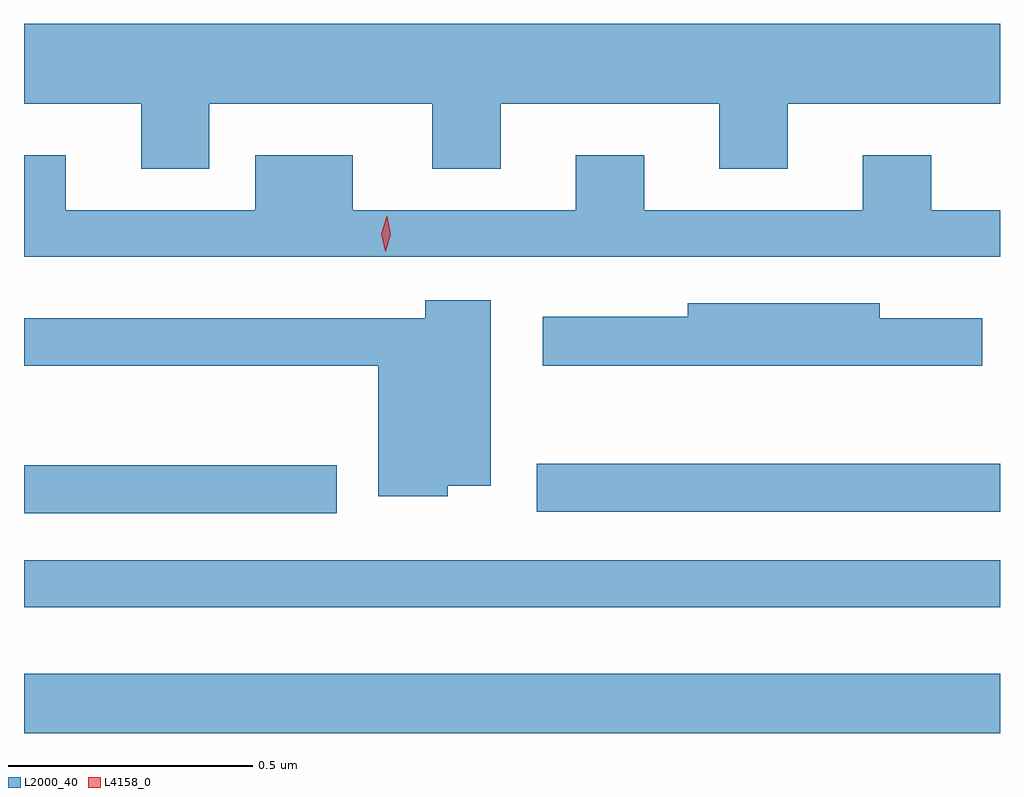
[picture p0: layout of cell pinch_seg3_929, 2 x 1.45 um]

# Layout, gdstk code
import gdstk
lib = gdstk.Library(unit=1e-6, precision=1e-09)
def R(c, l, rs):  # rectangles x0, y0, x1, y1
    for r in rs: c.add(gdstk.rectangle(r[:2], r[2:], *l))
def P(c, l, *ps):  # polygons
    for p in ps: c.add(gdstk.Polygon(p, *l))
L2000_40 = (2000, 40)
L4158_0 = (4158, 0)

pinch_seg3_929 = lib.new_cell('pinch_seg3_929')
R(pinch_seg3_929, L2000_40, [(795.56,668.99,797.56,669.112), (795.56,669.248,797.56,669.345), (795.56,669.441,796.201,669.539), (796.611,669.444,797.56,669.542)])
P(pinch_seg3_929, L2000_40, [(795.94,670.28),(796.397,670.28),(796.397,670.147),(796.537,670.147),(796.537,670.28),(796.985,670.28),(796.985,670.147),(797.125,670.147),(797.125,670.28),(797.56,670.28),(797.56,670.444),(795.56,670.444),(795.56,670.28),(795.8,670.28),(795.8,670.147),(795.94,670.147)],
  [(797.56,670.062),(797.419,670.062),(797.419,670.174),(797.279,670.174),(797.279,670.062),(796.831,670.062),(796.831,670.174),(796.691,670.174),(796.691,670.062),(796.234,670.062),(796.234,670.174),(796.034,670.174),(796.034,670.062),(795.646,670.062),(795.646,670.174),(795.56,670.174),(795.56,669.966),(797.56,669.966)],
  [(796.428,669.497),(796.516,669.497),(796.516,669.877),(796.382,669.877),(796.382,669.84),(795.56,669.84),(795.56,669.743),(796.286,669.743),(796.286,669.476),(796.428,669.476)],
  [(797.524,669.84),(797.314,669.84),(797.314,669.871),(796.92,669.871),(796.92,669.844),(796.623,669.844),(796.623,669.743),(797.524,669.743)])
P(pinch_seg3_929, L4158_0, [(796.3,669.978),(796.3,669.978),(796.292,670.014),(796.303,670.049),(796.303,670.049),(796.304,670.049),(796.312,670.013),(796.301,669.978)])

lib.write_gds('pinch_seg3_929.gds')
